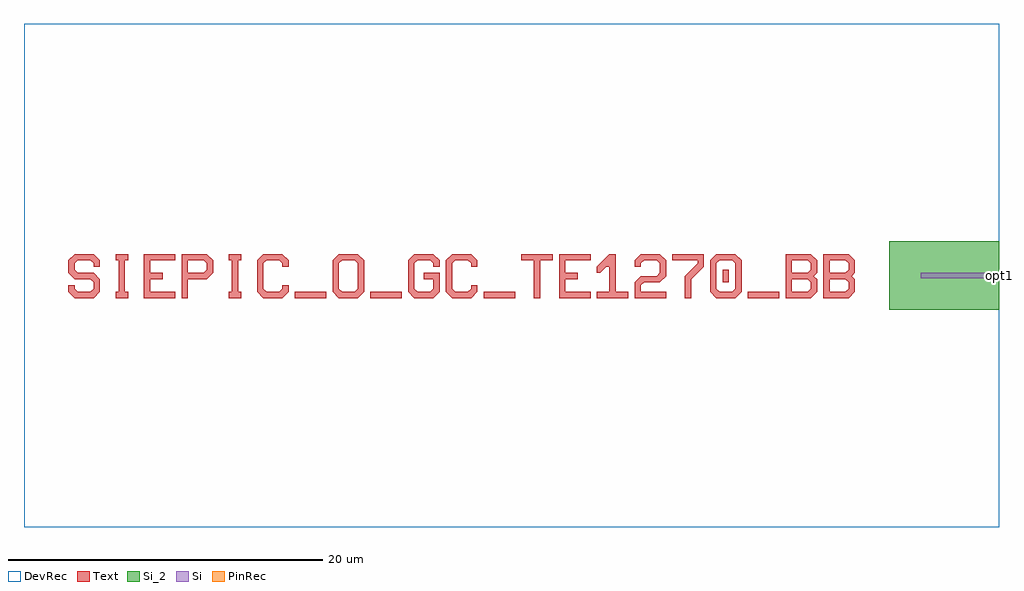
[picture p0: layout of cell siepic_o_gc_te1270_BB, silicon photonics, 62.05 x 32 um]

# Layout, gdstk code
import gdstk
lib = gdstk.Library(unit=1e-6, precision=1e-09)
def R(c, l, rs):  # rectangles x0, y0, x1, y1
    for r in rs: c.add(gdstk.rectangle(r[:2], r[2:], *l))
def P(c, l, *ps):  # polygons
    for p in ps: c.add(gdstk.Polygon(p, *l))
Si = (1, 0)
Si_2 = (1, 2)
PinRec = (1, 10)
Text = (10, 0)
DevRec = (68, 0)

siepic_o_gc_te1270_bb = lib.new_cell('siepic_o_gc_te1270_BB')
R(siepic_o_gc_te1270_bb, Si, [(-5.05,-0.175,-0.05,0.175)])
P(siepic_o_gc_te1270_bb, Si_2, [(-7.049,-2.175),(-7.05,-2.174),(-7.05,2.174),(-7.049,2.175),(-0.05,2.175),(-0.05,-2.175)])
R(siepic_o_gc_te1270_bb, Text, [(-44.83,-1.435,-42.83,-1.035), (-40.03,-1.435,-38.03,-1.035), (-32.83,-1.435,-30.83,-1.035), (-16.03,-1.435,-14.03,-1.035), (-17.63,-0.435,-17.23,0.365)])
P(siepic_o_gc_te1270_bb, Text, [(-58.83,-1.435),(-59.23,-1.035),(-59.23,-0.635),(-58.83,-0.635),(-58.83,-0.835),(-58.63,-1.035),(-57.83,-1.035),(-57.63,-0.835),(-57.63,-0.435),(-57.83,-0.235),(-58.83,-0.235),(-59.23,0.165),(-59.23,0.965),(-58.83,1.365),(-57.63,1.365),(-57.23,0.965),(-57.23,0.565),(-57.63,0.565),(-57.63,0.765),(-57.83,0.965),(-58.63,0.965),(-58.83,0.765),(-58.83,0.365),(-58.63,0.165),(-57.63,0.165),(-57.23,-0.235),(-57.23,-1.035),(-57.63,-1.435)],
  [(-56.23,-1.435),(-56.23,-1.035),(-56.03,-1.035),(-56.03,0.965),(-56.23,0.965),(-56.23,1.365),(-55.43,1.365),(-55.43,0.965),(-55.63,0.965),(-55.63,-1.035),(-55.43,-1.035),(-55.43,-1.435)],
  [(-54.43,-1.435),(-54.43,1.365),(-52.43,1.365),(-52.43,0.965),(-54.03,0.965),(-54.03,0.165),(-53.23,0.165),(-53.23,-0.235),(-54.03,-0.235),(-54.03,-1.035),(-52.43,-1.035),(-52.43,-1.435)],
  [(-52.03,-1.435),(-52.03,1.365),(-50.43,1.365),(-50.03,0.965),(-50.03,0.165),(-50.43,-0.235),(-51.63,-0.235),(-51.63,0.165),(-50.63,0.165),(-50.43,0.365),(-50.43,0.765),(-50.63,0.965),(-51.63,0.965),(-51.63,-1.435)],
  [(-49.03,-1.435),(-49.03,-1.035),(-48.83,-1.035),(-48.83,0.965),(-49.03,0.965),(-49.03,1.365),(-48.23,1.365),(-48.23,0.965),(-48.43,0.965),(-48.43,-1.035),(-48.23,-1.035),(-48.23,-1.435)],
  [(-46.83,-1.435),(-47.23,-1.035),(-47.23,0.965),(-46.83,1.365),(-45.63,1.365),(-45.23,0.965),(-45.23,0.565),(-45.63,0.565),(-45.63,0.765),(-45.83,0.965),(-46.63,0.965),(-46.83,0.765),(-46.83,-0.835),(-46.63,-1.035),(-45.83,-1.035),(-45.63,-0.835),(-45.63,-0.635),(-45.23,-0.635),(-45.23,-1.035),(-45.63,-1.435)],
  [(-42.03,-1.435),(-42.43,-1.035),(-42.43,0.965),(-42.03,1.365),(-40.83,1.365),(-40.43,0.965),(-40.43,-0.035),(-40.83,-0.035),(-40.83,0.765),(-41.03,0.965),(-41.83,0.965),(-42.03,0.765),(-42.03,-0.835),(-41.83,-1.035),(-41.03,-1.035),(-40.83,-0.835),(-40.83,-0.035),(-40.43,-0.035),(-40.43,-1.035),(-40.83,-1.435)],
  [(-37.23,-1.435),(-37.63,-1.035),(-37.63,0.965),(-37.23,1.365),(-36.03,1.365),(-35.63,0.965),(-35.63,0.565),(-36.03,0.565),(-36.03,0.765),(-36.23,0.965),(-37.03,0.965),(-37.23,0.765),(-37.23,-0.835),(-37.03,-1.035),(-36.23,-1.035),(-36.03,-0.835),(-36.03,-0.235),(-36.63,-0.235),(-36.63,0.165),(-35.63,0.165),(-35.63,-1.035),(-36.03,-1.435)],
  [(-34.83,-1.435),(-35.23,-1.035),(-35.23,0.965),(-34.83,1.365),(-33.63,1.365),(-33.23,0.965),(-33.23,0.565),(-33.63,0.565),(-33.63,0.765),(-33.83,0.965),(-34.63,0.965),(-34.83,0.765),(-34.83,-0.835),(-34.63,-1.035),(-33.83,-1.035),(-33.63,-0.835),(-33.63,-0.635),(-33.23,-0.635),(-33.23,-1.035),(-33.63,-1.435)],
  [(-29.63,-1.435),(-29.63,0.965),(-30.43,0.965),(-30.43,1.365),(-28.43,1.365),(-28.43,0.965),(-29.23,0.965),(-29.23,-1.435)],
  [(-28.03,-1.435),(-28.03,1.365),(-26.03,1.365),(-26.03,0.965),(-27.63,0.965),(-27.63,0.165),(-26.83,0.165),(-26.83,-0.235),(-27.63,-0.235),(-27.63,-1.035),(-26.03,-1.035),(-26.03,-1.435)],
  [(-25.63,-1.435),(-25.63,-1.035),(-24.83,-1.035),(-24.83,0.565),(-25.03,0.565),(-25.43,0.165),(-25.63,0.165),(-25.63,0.565),(-24.83,1.365),(-24.43,1.365),(-24.43,-1.035),(-23.63,-1.035),(-23.63,-1.435)],
  [(-23.23,-1.435),(-23.23,-0.435),(-22.83,-0.035),(-21.83,-0.035),(-21.63,0.165),(-21.63,0.765),(-21.83,0.965),(-22.63,0.965),(-22.83,0.765),(-22.83,0.565),(-23.23,0.565),(-23.23,0.965),(-22.83,1.365),(-21.63,1.365),(-21.23,0.965),(-21.23,-0.035),(-21.63,-0.435),(-22.63,-0.435),(-22.83,-0.635),(-22.83,-1.035),(-21.23,-1.035),(-21.23,-1.435)],
  [(-20.03,-1.435),(-20.03,-0.035),(-19.23,0.765),(-19.23,0.965),(-20.83,0.965),(-20.83,1.365),(-18.83,1.365),(-18.83,0.565),(-19.63,-0.235),(-19.63,-1.435)],
  [(-18.03,-1.435),(-18.43,-1.035),(-18.43,0.965),(-18.03,1.365),(-16.83,1.365),(-16.43,0.965),(-17.83,0.965),(-18.03,0.765),(-18.03,-0.835),(-17.83,-1.035),(-17.03,-1.035),(-16.83,-0.835),(-16.83,0.765),(-17.03,0.965),(-16.43,0.965),(-16.43,-1.035),(-16.83,-1.435)],
  [(-13.63,-1.435),(-13.63,1.365),(-12.03,1.365),(-11.63,0.965),(-13.23,0.965),(-13.23,0.165),(-12.23,0.165),(-12.03,0.365),(-12.03,0.765),(-12.23,0.965),(-11.63,0.965),(-11.63,0.165),(-11.83,-0.035),(-11.63,-0.235),(-13.23,-0.235),(-13.23,-1.035),(-12.23,-1.035),(-12.03,-0.835),(-12.03,-0.435),(-12.23,-0.235),(-11.63,-0.235),(-11.63,-1.035),(-12.03,-1.435)],
  [(-11.23,-1.435),(-11.23,1.365),(-9.63,1.365),(-9.23,0.965),(-10.83,0.965),(-10.83,0.165),(-9.83,0.165),(-9.63,0.365),(-9.63,0.765),(-9.83,0.965),(-9.23,0.965),(-9.23,0.165),(-9.43,-0.035),(-9.23,-0.235),(-10.83,-0.235),(-10.83,-1.035),(-9.83,-1.035),(-9.63,-0.835),(-9.63,-0.435),(-9.83,-0.235),(-9.23,-0.235),(-9.23,-1.035),(-9.63,-1.435)])
R(siepic_o_gc_te1270_bb, DevRec, [(-62.05,-16,-0.05,16)])
siepic_o_gc_te1270_bb.add(gdstk.FlexPath([(-0.1,0),(0,0)], 0.35, ends="flush", simple_path=True, layer=1, datatype=10))  # PinRec
siepic_o_gc_te1270_bb.add(gdstk.Label('opt1', (-0.05,0), layer=1, texttype=10))

lib.write_gds('siepic_o_gc_te1270_BB.gds')
